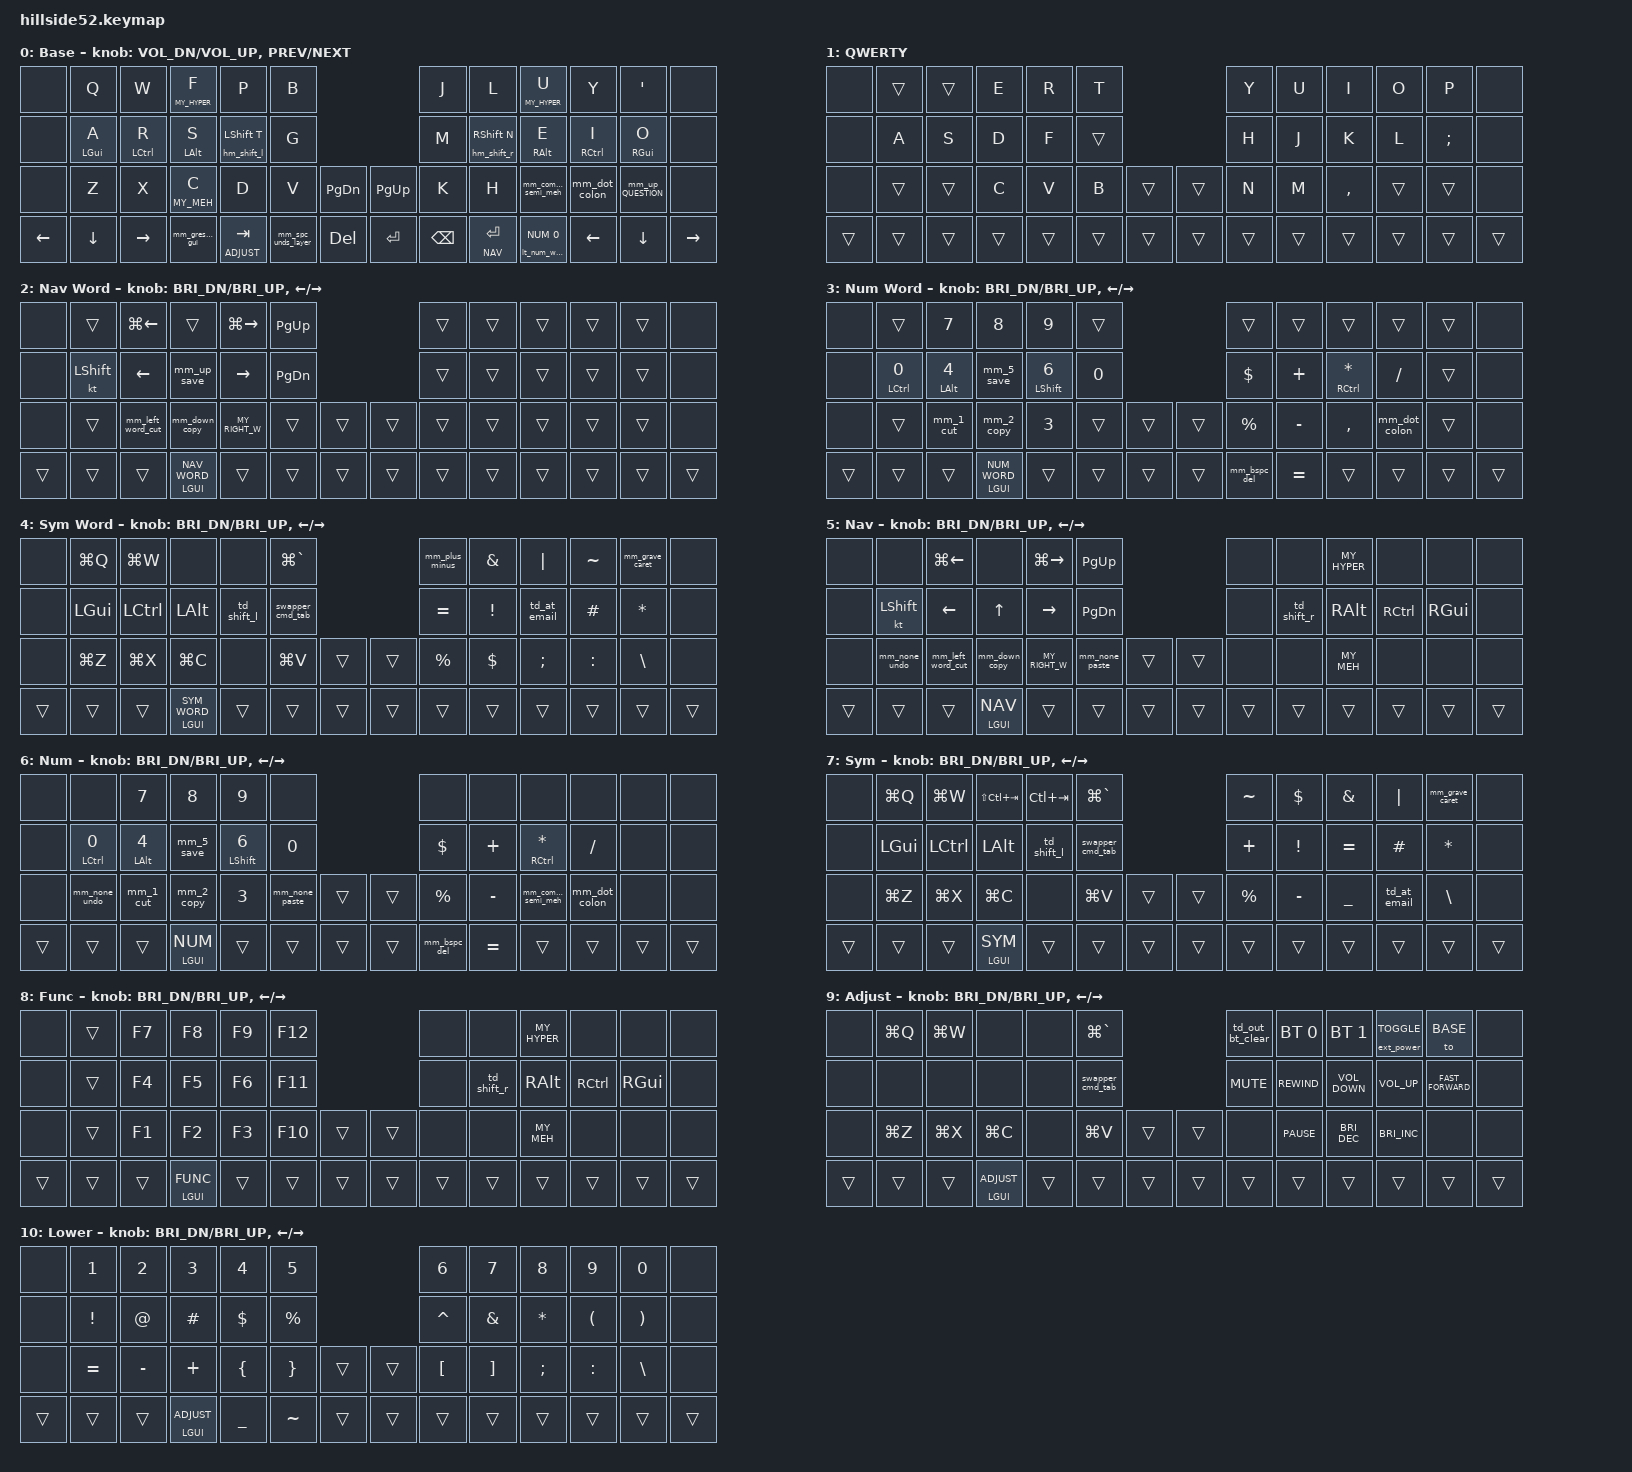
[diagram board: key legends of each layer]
/*
 * Copyright (c) 2020 The ZMK Contributors
 *
 * SPDX-License-Identifier: MIT
 */

// Define layer numbers
#define BASE 0
#define BASE_QWERTY 1
#define NAV_WORD 2
#define NUM_WORD 3
#define SYM_WORD 4
#define NAV 5
#define NUM 6
#define SYM 7
#define FUNC 8
#define ADJUST 9
#define LOWER 10

// ZMK includes
#include <behaviors.dtsi>
#include <dt-bindings/zmk/keys.h>
#include <dt-bindings/zmk/bt.h>
#include <dt-bindings/zmk/rgb.h>
#include <dt-bindings/zmk/ext_power.h>

// Personal includes
#include "includes/custom_keycodes.dtsi"
#include "includes/settings.dtsi"
//#include "includes/settings_pd.dtsi"
#include "includes/conditional_layers.dtsi"
#include "includes/macros.dtsi"
#include "includes/combos.dtsi"
#include "includes/behaviours_homerow_mods.dtsi"
#include "includes/behaviours_mod_morph.dtsi"
#include "includes/behaviours_other.dtsi"


/ {

  keymap {
    compatible = "zmk,keymap";

    Base_layer {
      label = "Base";
      bindings = <
//   ╭────────────────────────┬────────────────────────┬────────────────────────┬────────────────────────┬────────────────────────┬────────────────────────╮   			 		                                      ╭────────────────────────┬────────────────────────┬────────────────────────┬────────────────────────┬────────────────────────┬────────────────────────╮
        &none                   &kp Q                    &kp W                    &hm_l MY_HYPER F         &kp P                    &kp B                       						                                    &kp J                    &kp L                    &hm_r MY_HYPER U         &kp Y                    &kp SINGLE_QUOTE         &none
//   ├────────────────────────┼────────────────────────┼────────────────────────┼────────────────────────┼────────────────────────┤────────────────────────┤ 						                                      ├────────────────────────┼────────────────────────┼────────────────────────┼────────────────────────┼────────────────────────┼────────────────────────┤
        &none                   &hm_l LGUI A             &hm_l LCTRL R            &hm_l LALT S             &hm_shift_l LSHFT T      &kp G                       						                                    &kp M                    &hm_shift_r RSHFT N      &hm_r RALT E             &hm_r RCTRL I            &hm_r RGUI O             &none
//   ├────────────────────────┼────────────────────────┼────────────────────────┼────────────────────────┼────────────────────────┤────────────────────────┤────────────────────────┼├────────────────────────┼────────────────────────┼────────────────────────┼────────────────────────┼────────────────────────┤────────────────────────┼────────────────────────┤
        &none                   &kp Z                    &kp X                    &hm_l MY_MEH C           &kp D                    &kp V                    &kp PG_DN          	 	   &kp PG_UP                &kp K                    &kp H                    &mm_comma_semi_meh       &mm_dot_colon            &mm_up_QUESTION          &none
//   ├────────────────────────┴────────────────────────┴────────────────────────┼────────────────────────┼────────────────────────┼────────────────────────┼────────────────────────┼┼────────────────────────├────────────────────────┼────────────────────────┼────────────────────────┼────────────────────────┼────────────────────────┼────────────────────────┤
        &kp LEFT                &kp DOWN   			         &kp RIGHT                &mm_grescm_gui           &lt ADJUST TAB           &mm_spc_unds_layer       &kp DEL 			  	  	     &kp RET                  &kp BSPC                 &lt NAV RETURN           &lt_num_word NUM 0       &kp LEFT                 &kp DOWN   			         &kp RIGHT
//   ╰────────────────────────┴────────────────────────┴────────────────────────┴────────────────────────┴────────────────────────┴────────────────────────┴────────────────────────╯╰────────────────────────┴────────────────────────┴────────────────────────┴────────────────────────┴────────────────────────┴────────────────────────┴────────────────────────╯

      >;
      sensor-bindings = <&inc_dec_kp C_VOL_DN C_VOL_UP &inc_dec_kp C_PREV C_NEXT>;
    };

    Base_Qwerty_layer {
      label = "QWERTY";
      bindings = <
//   ╭────────────────────────┬────────────────────────┬────────────────────────┬────────────────────────┬────────────────────────┬────────────────────────╮   			 		                                      ╭────────────────────────┬────────────────────────┬────────────────────────┬────────────────────────┬────────────────────────┬────────────────────────╮
       &none                    &trans                   &trans                   &kp E                    &kp R                    &kp T                      			 		                                        &kp Y                    &kp U                    &kp I                    &kp O                    &kp P                    &none
//   ├────────────────────────┼────────────────────────┼────────────────────────┼────────────────────────┼────────────────────────┤────────────────────────┤ 						                                      ├────────────────────────┼────────────────────────┼────────────────────────┼────────────────────────┼────────────────────────┼────────────────────────┤
       &none                    &kp A                    &kp S                    &kp D                    &kp F                    &trans                     			 		                                        &kp H                    &kp J                    &kp K                    &kp L                    &kp SEMICOLON            &none
//   ├────────────────────────┴────────────────────────┴────────────────────────┼────────────────────────┼────────────────────────┼────────────────────────┼────────────────────────┼┼────────────────────────├────────────────────────┼────────────────────────┼────────────────────────┼────────────────────────┼────────────────────────┼────────────────────────┤
       &none                    &trans                   &trans                   &kp C                    &kp V                    &kp B                     &trans 			  	 	       &trans                   &kp N                    &kp M                    &kp COMMA                &trans                   &trans                   &none
//   ├────────────────────────┴────────────────────────┴────────────────────────┼────────────────────────┼────────────────────────┼────────────────────────┼────────────────────────┼┼────────────────────────├────────────────────────┼────────────────────────┼────────────────────────┼────────────────────────┼────────────────────────┼────────────────────────┤
       &trans                   &trans                   &trans                   &trans 			  		       &trans  			    		  	 &trans                   &trans                   &trans                   &trans                   &trans                   &trans                   &trans                   &trans                   &trans
//   ╰────────────────────────┴────────────────────────┴────────────────────────┴────────────────────────┴────────────────────────┴────────────────────────┴────────────────────────╯╰────────────────────────┴────────────────────────┴────────────────────────┴────────────────────────┴────────────────────────┴────────────────────────┴────────────────────────╯
      >;
    };

    Nav_Word_layer {
      label = "Nav Word";
      bindings = <
//   ╭────────────────────────┬────────────────────────┬────────────────────────┬────────────────────────┬────────────────────────┬────────────────────────╮   			 		                                      ╭────────────────────────┬────────────────────────┬────────────────────────┬────────────────────────┬────────────────────────┬────────────────────────╮
       &none                    &trans                   &kp LG(LEFT)             &trans                   &kp LG(RIGHT)            &kp PG_UP                			 		                                          &trans                   &trans                   &trans                   &trans                   &trans                   &none
//   ├────────────────────────┼────────────────────────┼────────────────────────┼────────────────────────┼────────────────────────┤────────────────────────┤ 						                                      ├────────────────────────┼────────────────────────┼────────────────────────┼────────────────────────┼────────────────────────┼────────────────────────┤
       &none                    &kt LSHFT                &kp LEFT                 &mm_up_save              &kp RIGHT                &kp PG_DN                 			 		                                        &trans                   &trans                   &trans                   &trans                   &trans                   &none
//   ├────────────────────────┴────────────────────────┴────────────────────────┼────────────────────────┼────────────────────────┼────────────────────────┼────────────────────────┼┼────────────────────────├────────────────────────┼────────────────────────┼────────────────────────┼────────────────────────┼────────────────────────┼────────────────────────┤
       &none                    &trans                   &mm_left_word_cut        &mm_down_copy            &kp MY_RIGHT_W           &trans                   &trans 			  			     &trans 			 		        &trans                   &trans                   &trans                   &trans                   &trans                   &none        
//   ├────────────────────────┴────────────────────────┴────────────────────────┼────────────────────────┼────────────────────────┼────────────────────────┼────────────────────────┼┼────────────────────────├────────────────────────┼────────────────────────┼────────────────────────┼────────────────────────┼────────────────────────┼────────────────────────┤
       &trans                   &trans                   &trans                   &ltog LGUI NAV_WORD      &trans                   &trans                   &trans 			  		       &trans     			 		    &trans                   &trans                   &trans   			           &trans                   &trans                   &trans
//   ╰────────────────────────┴────────────────────────┴────────────────────────┴────────────────────────┴────────────────────────┴────────────────────────┴────────────────────────╯╰────────────────────────┴────────────────────────┴────────────────────────┴────────────────────────┴────────────────────────┴────────────────────────┴────────────────────────╯
      >;
      sensor-bindings = <&inc_dec_kp C_BRI_DN C_BRI_UP &inc_dec_kp LEFT RIGHT>;
    };

    Num_Word_layer {
      label = "Num Word";
      bindings = <
//   ╭────────────────────────┬────────────────────────┬────────────────────────┬────────────────────────┬────────────────────────┬────────────────────────╮   			 		                                      ╭────────────────────────┬────────────────────────┬────────────────────────┬────────────────────────┬────────────────────────┬────────────────────────╮
       &none                    &trans                   &kp NUMBER_7             &kp NUMBER_8             &kp NUMBER_9             &trans                      			 		                                      &trans                   &trans                   &trans                   &trans                   &trans                   &none  
//   ├────────────────────────┼────────────────────────┼────────────────────────┼────────────────────────┼────────────────────────┤────────────────────────┤ 						                                      ├────────────────────────┼────────────────────────┼────────────────────────┼────────────────────────┼────────────────────────┼────────────────────────┤
       &none                    &hm_l LCTRL NUMBER_0     &hm_l LALT NUMBER_4      &mm_5_save               &hm_l LSHFT NUMBER_6     &kp NUMBER_0               			 		                                        &kp DOLLAR               &kp PLUS                 &hm_r RCTRL ASTERISK     &kp SLASH                &trans                   &none  
//   ├────────────────────────┴────────────────────────┴────────────────────────┼────────────────────────┼────────────────────────┼────────────────────────┼────────────────────────┼┼────────────────────────├────────────────────────┼────────────────────────┼────────────────────────┼────────────────────────┼────────────────────────┼────────────────────────┤
       &none                    &trans                   &mm_1_cut                &mm_2_copy               &kp NUMBER_3             &trans                    &trans 			  		       &trans 						      &kp PERCENT              &kp MINUS                &kp COMMA                &mm_dot_colon            &trans                   &none  
//   ├────────────────────────┴────────────────────────┴────────────────────────┼────────────────────────┼────────────────────────┼────────────────────────┼────────────────────────┼┼────────────────────────├────────────────────────┼────────────────────────┼────────────────────────┼────────────────────────┼────────────────────────┼────────────────────────┤
       &trans                   &trans                   &trans                   &ltog LGUI NUM_WORD      &trans                   &trans                    &trans 			  		       &trans   			    			&mm_bspc_del             &kp EQUAL                &trans   			           &trans                   &trans                   &trans
//   ╰────────────────────────┴────────────────────────┴────────────────────────┴────────────────────────┴────────────────────────┴────────────────────────┴────────────────────────╯╰────────────────────────┴────────────────────────┴────────────────────────┴────────────────────────┴────────────────────────┴────────────────────────┴────────────────────────╯
      >;
      sensor-bindings = <&inc_dec_kp C_BRI_DN C_BRI_UP &inc_dec_kp LEFT RIGHT>;
    };

    Sym_Word_layer {
      label = "Sym Word";
      bindings = <
//   ╭────────────────────────┬────────────────────────┬────────────────────────┬────────────────────────┬────────────────────────┬────────────────────────╮   			 		                                      ╭────────────────────────┬────────────────────────┬────────────────────────┬────────────────────────┬────────────────────────┬────────────────────────╮
       &none                    &kp LG(Q)                &kp LG(W)                &none                    &none                    &kp LG(GRAVE)              			 		                                        &mm_plus_minus           &kp AMPERSAND            &kp PIPE                 &kp TILDE                &mm_grave_caret          &none  
//   ├────────────────────────┼────────────────────────┼────────────────────────┼────────────────────────┼────────────────────────┤────────────────────────┤ 						                                      ├────────────────────────┼────────────────────────┼────────────────────────┼────────────────────────┼────────────────────────┼────────────────────────┤
       &none                    &kp LEFT_GUI             &kp LEFT_CONTROL         &kp LEFT_ALT             &td_shift_l              &swapper_cmd_tab            			 		                                      &kp EQUAL                &kp EXCLAMATION          &td_at_email             &kp HASH                 &kp ASTERISK             &none  
//   ├────────────────────────┴────────────────────────┴────────────────────────┼────────────────────────┼────────────────────────┼────────────────────────┼────────────────────────┼┼────────────────────────├────────────────────────┼────────────────────────┼────────────────────────┼────────────────────────┼────────────────────────┼────────────────────────┤
       &none                    &kp LG(Z)                &kp LG(X)                &kp LG(C)                &none                    &kp LG(V)                &trans 			  		       &trans 						      &kp PERCENT              &kp DOLLAR               &kp SEMICOLON            &kp COLON                &kp BACKSLASH            &none  
//   ├────────────────────────┴────────────────────────┴────────────────────────┼────────────────────────┼────────────────────────┼────────────────────────┼────────────────────────┼┼────────────────────────├────────────────────────┼────────────────────────┼────────────────────────┼────────────────────────┼────────────────────────┼────────────────────────┤
        &trans                   &trans                   &trans                  &ltog LGUI SYM_WORD      &trans                   &trans                   &trans 			  		       &trans   			    		  &trans                   &trans                   &trans   			           &trans                   &trans                   &trans
//   ╰────────────────────────┴────────────────────────┴────────────────────────┴────────────────────────┴────────────────────────┴────────────────────────┴────────────────────────╯╰────────────────────────┴────────────────────────┴────────────────────────┴────────────────────────┴────────────────────────┴────────────────────────┴────────────────────────╯
      >;
      sensor-bindings = <&inc_dec_kp C_BRI_DN C_BRI_UP &inc_dec_kp LEFT RIGHT>;
    };

    Nav_layer {
      label = "Nav";
      bindings = <
//   ╭────────────────────────┬────────────────────────┬────────────────────────┬────────────────────────┬────────────────────────┬────────────────────────╮   			 		                                      ╭────────────────────────┬────────────────────────┬────────────────────────┬────────────────────────┬────────────────────────┬────────────────────────╮
       &none                    &none                    &kp LG(LEFT)             &none                    &kp LG(RIGHT)            &kp PG_UP                  			   		                                      &none                    &none                    &kp MY_HYPER             &none                    &none                    &none  
//   ├────────────────────────┼────────────────────────┼────────────────────────┼────────────────────────┼────────────────────────┤────────────────────────┤ 						                                      ├────────────────────────┼────────────────────────┼────────────────────────┼────────────────────────┼────────────────────────┼────────────────────────┤
       &none                    &kt LSHFT                &kp LEFT                 &kp UP                   &kp RIGHT                &kp PG_DN                  			 		                                        &none                    &td_shift_r              &kp RIGHT_ALT            &kp RIGHT_CONTROL        &kp RIGHT_GUI            &none  
//   ├────────────────────────┴────────────────────────┴────────────────────────┼────────────────────────┼────────────────────────┼────────────────────────┼────────────────────────┼┼────────────────────────├────────────────────────┼────────────────────────┼────────────────────────┼────────────────────────┼────────────────────────┼────────────────────────┤
       &none                    &mm_none_undo            &mm_left_word_cut        &mm_down_copy            &kp MY_RIGHT_W           &mm_none_paste           &trans 			  		       &trans 						      &none                    &none                    &kp MY_MEH               &none                    &none                    &none  
//   ├────────────────────────┴────────────────────────┴────────────────────────┼────────────────────────┼────────────────────────┼────────────────────────┼────────────────────────┼┼────────────────────────├────────────────────────┼────────────────────────┼────────────────────────┼────────────────────────┼────────────────────────┼────────────────────────┤
       &trans                   &trans                   &trans                   &ltog LGUI NAV           &trans                   &trans                   &trans 			  		       &trans	    			        &trans                   &trans                   &trans   			           &trans                   &trans                   &trans
//   ╰────────────────────────┴────────────────────────┴────────────────────────┴────────────────────────┴────────────────────────┴────────────────────────┴────────────────────────╯╰────────────────────────┴────────────────────────┴────────────────────────┴────────────────────────┴────────────────────────┴────────────────────────┴────────────────────────╯
      >;
      sensor-bindings = <&inc_dec_kp C_BRI_DN C_BRI_UP &inc_dec_kp LEFT RIGHT>;
    };

    Num_layer {
      label = "Num";
      bindings = <
//   ╭────────────────────────┬────────────────────────┬────────────────────────┬────────────────────────┬────────────────────────┬────────────────────────╮   			 		                                      ╭────────────────────────┬────────────────────────┬────────────────────────┬────────────────────────┬────────────────────────┬────────────────────────╮
       &none                    &none                    &kp NUMBER_7             &kp NUMBER_8             &kp NUMBER_9             &none                      			 		                                        &none                    &none                    &none                    &none                    &none                    &none  
//   ├────────────────────────┼────────────────────────┼────────────────────────┼────────────────────────┼────────────────────────┤────────────────────────┤ 						                                      ├────────────────────────┼────────────────────────┼────────────────────────┼────────────────────────┼────────────────────────┼────────────────────────┤
       &none                    &hm_l LCTRL NUMBER_0     &hm_l LALT NUMBER_4      &mm_5_save               &hm_l LSHFT NUMBER_6     &kp NUMBER_0               			 		                                        &kp DOLLAR               &kp PLUS                 &hm_r RCTRL ASTERISK     &kp SLASH                &none                    &none  
//   ├────────────────────────┴────────────────────────┴────────────────────────┼────────────────────────┼────────────────────────┼────────────────────────┼────────────────────────┼┼────────────────────────├────────────────────────┼────────────────────────┼────────────────────────┼────────────────────────┼────────────────────────┼────────────────────────┤
       &none                    &mm_none_undo            &mm_1_cut                &mm_2_copy               &kp NUMBER_3             &mm_none_paste           &trans 			  		       &trans  						      &kp PERCENT              &kp MINUS                &mm_comma_semi_meh       &mm_dot_colon            &none                    &none  
//   ├────────────────────────┴────────────────────────┴────────────────────────┼────────────────────────┼────────────────────────┼────────────────────────┼────────────────────────┼┼────────────────────────├────────────────────────┼────────────────────────┼────────────────────────┼────────────────────────┼────────────────────────┼────────────────────────┤
       &trans                   &trans                   &trans                   &ltog LGUI NUM           &trans                   &trans                   &trans 			  		       &trans		    		        &mm_bspc_del             &kp EQUAL                &trans   			           &trans                   &trans                   &trans
//   ╰────────────────────────┴────────────────────────┴────────────────────────┴────────────────────────┴────────────────────────┴────────────────────────┴────────────────────────╯╰────────────────────────┴────────────────────────┴────────────────────────┴────────────────────────┴────────────────────────┴────────────────────────┴────────────────────────╯
      >;
      sensor-bindings = <&inc_dec_kp C_BRI_DN C_BRI_UP &inc_dec_kp LEFT RIGHT>;
    };

    Sym_layer {
      label = "Sym";
      bindings = <
//   ╭────────────────────────┬────────────────────────┬────────────────────────┬────────────────────────┬────────────────────────┬────────────────────────╮   			 		                                      ╭────────────────────────┬────────────────────────┬────────────────────────┬────────────────────────┬────────────────────────┬────────────────────────╮
       &none                    &kp LG(Q)                &kp LG(W)                &kp LS(LC(TAB))          &kp LC(TAB)              &kp LG(GRAVE)              			 		                                        &kp TILDE                &kp DOLLAR               &kp AMPERSAND            &kp PIPE                 &mm_grave_caret          &none  
//   ├────────────────────────┼────────────────────────┼────────────────────────┼────────────────────────┼────────────────────────┤────────────────────────┤ 						                                      ├────────────────────────┼────────────────────────┼────────────────────────┼────────────────────────┼────────────────────────┼────────────────────────┤
       &none                    &kp LEFT_GUI             &kp LEFT_CONTROL         &kp LEFT_ALT             &td_shift_l              &swapper_cmd_tab           			 		                                        &kp PLUS                 &kp EXCLAMATION          &kp EQUAL                &kp HASH                 &kp ASTERISK             &none  
//   ├────────────────────────┴────────────────────────┴────────────────────────┼────────────────────────┼────────────────────────┼────────────────────────┼────────────────────────┼┼────────────────────────├────────────────────────┼────────────────────────┼────────────────────────┼────────────────────────┼────────────────────────┼────────────────────────┤
       &none                    &kp LG(Z)                &kp LG(X)                &kp LG(C)                &none &kp                LG(V)                    &trans 			  		       &trans  						      &kp PERCENT              &kp MINUS                &kp UNDERSCORE           &td_at_email             &kp BACKSLASH            &none  
//   ├────────────────────────┴────────────────────────┴────────────────────────┼────────────────────────┼────────────────────────┼────────────────────────┼────────────────────────┼┼────────────────────────├────────────────────────┼────────────────────────┼────────────────────────┼────────────────────────┼────────────────────────┼────────────────────────┤
       &trans                   &trans                   &trans                   &ltog LGUI SYM           &trans                   &trans                   &trans 			  		       &trans   			          &trans                   &trans                   &trans   			           &trans                   &trans                   &trans
//   ╰────────────────────────┴────────────────────────┴────────────────────────┴────────────────────────┴────────────────────────┴────────────────────────┴────────────────────────╯╰────────────────────────┴────────────────────────┴────────────────────────┴────────────────────────┴────────────────────────┴────────────────────────┴────────────────────────╯
      >;
      sensor-bindings = <&inc_dec_kp C_BRI_DN C_BRI_UP &inc_dec_kp LEFT RIGHT>;
    };

    Func_layer {
      label = "Func";
      bindings = <
//   ╭────────────────────────┬────────────────────────┬────────────────────────┬────────────────────────┬────────────────────────┬────────────────────────╮   			 		                                      ╭────────────────────────┬────────────────────────┬────────────────────────┬────────────────────────┬────────────────────────┬────────────────────────╮
       &none                    &trans                   &kp F7                   &kp F8                   &kp F9                   &kp F12                    			 		                                        &none                    &none                    &kp MY_HYPER             &none                    &none                    &none  
//   ├────────────────────────┼────────────────────────┼────────────────────────┼────────────────────────┼────────────────────────┤────────────────────────┤ 						                                      ├────────────────────────┼────────────────────────┼────────────────────────┼────────────────────────┼────────────────────────┼────────────────────────┤
       &none                    &trans                   &kp F4                   &kp F5                   &kp F6                   &kp F11                    			 		                                        &none                    &td_shift_r              &kp RIGHT_ALT            &kp RIGHT_CONTROL        &kp RIGHT_GUI            &none  
//   ├────────────────────────┴────────────────────────┴────────────────────────┼────────────────────────┼────────────────────────┼────────────────────────┼────────────────────────┼┼────────────────────────├────────────────────────┼────────────────────────┼────────────────────────┼────────────────────────┼────────────────────────┼────────────────────────┤
       &none                    &trans                   &kp F1                   &kp F2                   &kp F3                   &kp F10                  &trans 			  		       &trans  						      &none                    &none                    &kp MY_MEH               &none                    &none                    &none  
//   ├────────────────────────┴────────────────────────┴────────────────────────┼────────────────────────┼────────────────────────┼────────────────────────┼────────────────────────┼┼────────────────────────├────────────────────────┼────────────────────────┼────────────────────────┼────────────────────────┼────────────────────────┼────────────────────────┤
       &trans                   &trans                   &trans                   &ltog LGUI FUNC          &trans                   &trans                   &trans 			  		       &trans		    		        &trans                   &trans                   &trans   			           &trans                   &trans                   &trans
//   ╰────────────────────────┴────────────────────────┴────────────────────────┴────────────────────────┴────────────────────────┴────────────────────────┴────────────────────────╯╰────────────────────────┴────────────────────────┴────────────────────────┴────────────────────────┴────────────────────────┴────────────────────────┴────────────────────────╯
      >;
      sensor-bindings = <&inc_dec_kp C_BRI_DN C_BRI_UP &inc_dec_kp LEFT RIGHT>;
    };

    Adjust_layer {
      label = "Adjust";
      bindings = <
//   ╭────────────────────────┬────────────────────────┬────────────────────────┬────────────────────────┬────────────────────────┬────────────────────────╮   			 		                                      ╭────────────────────────┬────────────────────────┬────────────────────────┬────────────────────────┬────────────────────────┬────────────────────────╮
       &none                    &kp LG(Q)                &kp LG(W)                &none                    &none                    &kp LG(GRAVE)              			 		                                        &td_out_bt_clear         &bt BT_SEL 0             &bt BT_SEL 1             &ext_power EXT_POWER_TOGGLE_CMD &to BASE          &none  
//   ├────────────────────────┼────────────────────────┼────────────────────────┼────────────────────────┼────────────────────────┤────────────────────────┤ 						                                      ├────────────────────────┼────────────────────────┼────────────────────────┼────────────────────────┼────────────────────────┼────────────────────────┤
       &none                    &none                    &none                    &none                    &none                    &swapper_cmd_tab           			 		                                        &kp C_MUTE               &kp C_REWIND             &kp C_VOLUME_DOWN        &kp C_VOLUME_UP          &kp C_FAST_FORWARD       &none  
//   ├────────────────────────┴────────────────────────┴────────────────────────┼────────────────────────┼────────────────────────┼────────────────────────┼────────────────────────┼┼────────────────────────├────────────────────────┼────────────────────────┼────────────────────────┼────────────────────────┼────────────────────────┼────────────────────────┤
       &none                    &kp LG(Z)                &kp LG(X)                &kp LG(C)                &none                    &kp LG(V)                &trans 			  		       &trans  						      &none                    &kp C_PAUSE              &kp C_BRIGHTNESS_DEC     &kp C_BRIGHTNESS_INC     &none                    &none  
//   ├────────────────────────┴────────────────────────┴────────────────────────┼────────────────────────┼────────────────────────┼────────────────────────┼────────────────────────┼┼────────────────────────├────────────────────────┼────────────────────────┼────────────────────────┼────────────────────────┼────────────────────────┼────────────────────────┤
       &trans                   &trans                   &trans                   &ltog LGUI ADJUST        &trans                   &trans                   &trans 			  		       &trans  			    	 	 	  &trans                   &trans                   &trans   			           &trans                   &trans                   &trans
//   ╰────────────────────────┴────────────────────────┴────────────────────────┴────────────────────────┴────────────────────────┴────────────────────────┴────────────────────────╯╰────────────────────────┴────────────────────────┴────────────────────────┴────────────────────────┴────────────────────────┴────────────────────────┴────────────────────────╯
      >;
      sensor-bindings = <&inc_dec_kp C_BRI_DN C_BRI_UP &inc_dec_kp LEFT RIGHT>;
    };

    Lower_layer {
      label = "Lower";
      bindings = <
//   ╭────────────────────────┬────────────────────────┬────────────────────────┬────────────────────────┬────────────────────────┬────────────────────────╮   			 		                                      ╭────────────────────────┬────────────────────────┬────────────────────────┬────────────────────────┬────────────────────────┬────────────────────────╮
       &none                    &kp NUMBER_1             &kp NUMBER_2             &kp NUMBER_3             &kp NUMBER_4             &kp NUMBER_5                			 		                                      &kp NUMBER_6             &kp NUMBER_7             &kp NUMBER_8             &kp NUMBER_9             &kp NUMBER_0             &none  
//   ├────────────────────────┼────────────────────────┼────────────────────────┼────────────────────────┼────────────────────────┤────────────────────────┤ 						                                      ├────────────────────────┼────────────────────────┼────────────────────────┼────────────────────────┼────────────────────────┼────────────────────────┤
       &none                    &kp EXCLAMATION          &kp AT_SIGN              &kp HASH                 &kp DOLLAR               &kp PERCENT                			 		                                        &kp CARET                &kp AMPERSAND            &kp ASTERISK             &kp LEFT_PARENTHESIS     &kp RIGHT_PARENTHESIS    &none  
//   ├────────────────────────┴────────────────────────┴────────────────────────┼────────────────────────┼────────────────────────┼────────────────────────┼────────────────────────┼┼────────────────────────├────────────────────────┼────────────────────────┼────────────────────────┼────────────────────────┼────────────────────────┼────────────────────────┤
       &none                    &kp EQUAL                &kp MINUS                &kp PLUS                 &kp LEFT_BRACE           &kp RIGHT_BRACE           &trans 			  	  	     &trans  						      &kp LEFT_BRACKET         &kp RIGHT_BRACKET        &kp SEMICOLON            &kp COLON                &kp BACKSLASH            &none  
//   ├────────────────────────┴────────────────────────┴────────────────────────┼────────────────────────┼────────────────────────┼────────────────────────┼────────────────────────┼┼────────────────────────├────────────────────────┼────────────────────────┼────────────────────────┼────────────────────────┼────────────────────────┼────────────────────────┤
       &trans                   &trans                   &trans                   &ltog LGUI ADJUST        &kp UNDERSCORE           &kp TILDE               	&trans 			  		       &trans		    			      &trans                   &trans                   &trans   			           &trans                   &trans                   &trans
//   ╰────────────────────────┴────────────────────────┴────────────────────────┴────────────────────────┴────────────────────────┴────────────────────────┴────────────────────────╯╰────────────────────────┴────────────────────────┴────────────────────────┴────────────────────────┴────────────────────────┴────────────────────────┴────────────────────────╯
      >;
      sensor-bindings = <&inc_dec_kp C_BRI_DN C_BRI_UP &inc_dec_kp LEFT RIGHT>;
    };
  };

};
